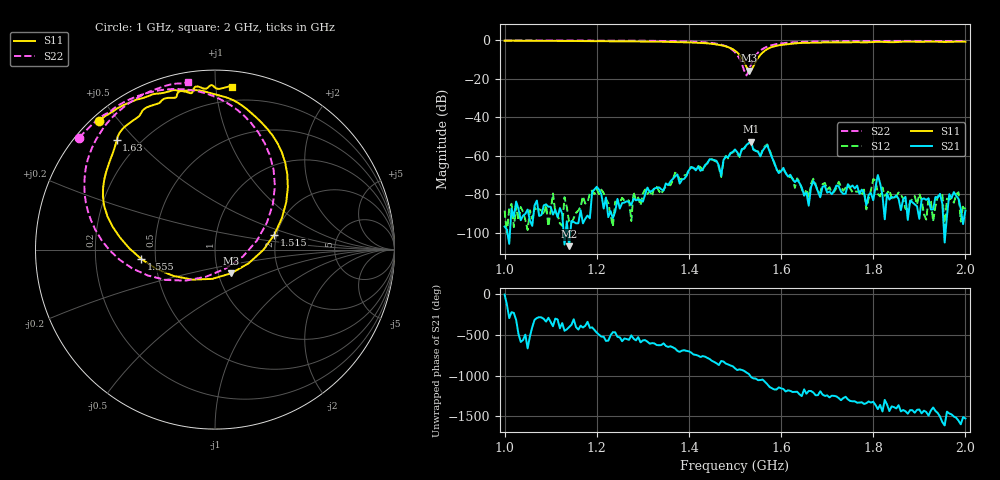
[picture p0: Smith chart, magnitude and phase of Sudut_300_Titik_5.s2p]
# Hz S RI R 50
! CMT, C1220, 16058040, 17.2.0/1
! Date: 14/08/2018 11:50:58
! Data: Format (Calibration Info)
! Freq  S11: Re/Im (F2)  S21: Re/Im (F2)  S12: Re/Im (F2)  S22: Re/Im (F2)
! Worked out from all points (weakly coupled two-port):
!   201 points, 1 GHz to 2 GHz, reference 50 ohm
!   highest |S21| = -52.74 dB at 1.535 GHz (marker M1); lowest = -106.9 dB at 1.14 GHz (marker M2)
!   lowest |S11| = -15.9 dB at 1.53 GHz (marker M3), VSWR 1.38, Z = 57.8 - j15.6 ohm
!   |S11| at or under -10 dB: 1.517 GHz to 1.548 GHz (31.48 MHz wide, 2.05 % of centre)
!   |S22| runs from -18.3 to -0.2 dB; largest |S21 - S12| = 0.0004
!   S11 on the Smith chart (normalised r, x): 1 GHz: 0.02, +0.44; 1.515 GHz: 1.94, +0.37; 1.555 GHz: 0.42, -0.05; 1.63 GHz: 0.12, +0.44; 2 GHz: 0.11, +1.11
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1e9  -0.6486 0.7148  1.45e-05 -1.32e-06  -2.76e-05 -2.58e-05  -0.7555 0.6239
1.14e9  -0.5003 0.8095  3.22e-06 -3.16e-06  -9.82e-06 -1.67e-05  -0.6481 0.7282
1.17e9  -0.4705 0.8218  1.14e-05 -1.35e-05  7.52e-05 -4.73e-05  -0.6187 0.7503
1.335e9  -0.2079 0.8868  -6.65e-06 0.000151  2.64e-05 0.000119  -0.4016 0.8653
1.445e9  0.1571 0.7979  0.00018 -0.000793  0.000154 -0.000796  -0.0108 0.8558
1.47e9  0.2915 0.6727  -5.74e-05 -0.000296  -3.56e-05 -0.000279  0.164 0.7441
1.48e9  0.3491 0.5913  -0.000647 -0.000711  -0.000676 -0.000727  0.2404 0.6544
1.5e9  0.406 0.3471  -0.00143 0.00028  -0.0013 0.00024  0.3339 0.3535
1.515e9  0.3308 0.0833  -0.00127 0.000766  -0.0013 0.000674  0.2348 0.0519
1.53e9  0.0915 -0.1315  -0.000361 0.00208  -0.00032 0.00212  -0.0496 -0.151
1.535e9  -0.0153 -0.1631  0.00109 0.00203  0.00109 0.002  -0.1626 -0.1727
1.555e9  -0.4108 -0.0523  0.000871 0.000415  0.000892 0.000426  -0.5328 -0.0556
1.57e9  -0.5692 0.1259  0.0017 -0.000799  0.00178 -0.000863  -0.6666 0.11
1.595e9  -0.6163 0.3939  0.000152 -0.000321  0.000151 -0.000335  -0.7277 0.3433
1.63e9  -0.5478 0.6119  -0.000103 -0.00018  -0.000113 -9.43e-05  -0.695 0.5423
1.66e9  -0.4651 0.7129  -1.6e-05 -4.8e-05  -5.7e-05 -5.74e-05  -0.6436 0.6442
1.67e9  -0.4352 0.7335  -0.000135 -0.000173  -0.00019 -0.000168  -0.6265 0.6707
1.775e9  -0.2283 0.8458  -4.99e-05 0.000122  -5.07e-05 7.75e-05  -0.4629 0.827
1.8e9  -0.2094 0.8709  -3.38e-05 6.18e-05  0.000145 0.000201  -0.4261 0.8489
1.81e9  -0.1966 0.8821  0.000278 0.000152  -0.000102 1.31e-05  -0.4122 0.8571
1.835e9  -0.1387 0.8718  7.28e-05 6.08e-06  2.55e-06 0.000127  -0.3786 0.8742
2e9  0.096 0.9032  2.05e-06 -3.76e-05  -4.03e-05 -8.54e-06  -0.1526 0.9338
